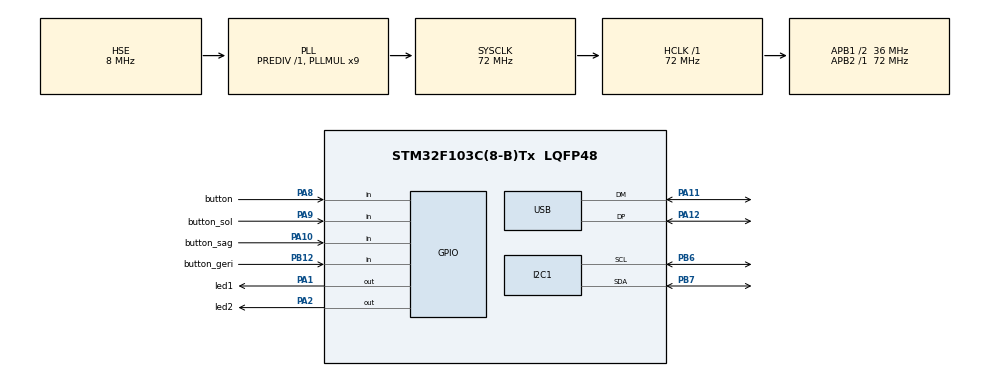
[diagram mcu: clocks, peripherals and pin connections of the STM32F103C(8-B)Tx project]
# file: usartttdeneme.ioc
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Mcu.Family=STM32F1
RCC.PLLSourceVirtual=RCC_PLLSOURCE_HSE
USB_DEVICE.CLASS_NAME_FS=CDC
PD1-OSC_OUT.Mode=HSE-External-Oscillator
USB_DEVICE.VirtualModeFS=Cdc_FS
PA10.GPIO_PuPd=GPIO_PULLDOWN
PA9.GPIO_Label=button_sol
VP_RTC_VS_RTC_Activate.Mode=RTC_Enabled
RCC.USBPrescaler=RCC_USBCLKSOURCE_PLL_DIV1_5
RTC.WeekDay=RTC_WEEKDAY_WEDNESDAY
PA11.Mode=Device
PD0-OSC_IN.Signal=RCC_OSC_IN
RCC.APB1CLKDivider=RCC_HCLK_DIV2
PA9.GPIO_PuPd=GPIO_PULLDOWN
RCC.SYSCLKSource=RCC_SYSCLKSOURCE_PLLCLK
ProjectManager.StackSize=0x400
PD1-OSC_OUT.Signal=RCC_OSC_OUT
PA13.Signal=SYS_JTMS-SWDIO
PA12.Signal=USB_DP
PA8.GPIO_Label=button
ProjectManager.TargetToolchain=STM32CubeIDE
USB_DEVICE.PRODUCT_STRING_CDC_FS=STM32 Virtual Port
RTC.Year=21
I2C1.I2C_Mode=I2C_Fast
RCC.HCLKFreq_Value=72000000
VP_USB_DEVICE_VS_USB_DEVICE_CDC_FS.Mode=CDC_FS
RCC.APB2TimFreq_Value=72000000
PA9.Signal=GPIO_Input
PB6.Signal=I2C1_SCL
PB6.Mode=I2C
RTC.Format=RTC_FORMAT_BIN
RCC.USBFreq_Value=48000000
PA1.Signal=GPIO_Output
RCC.AHBFreq_Value=72000000
PD0-OSC_IN.Mode=HSE-External-Oscillator
RTC.Minutes=17
board=custom
RCC.PLLMUL=RCC_PLL_MUL9
PB12.GPIO_Label=button_geri
RCC.APB2Freq_Value=72000000
RTC.Month=RTC_MONTH_JULY
VP_TIM2_VS_ClockSourceINT.Mode=Internal
PA14.Mode=Serial_Wire
NVIC.USB_LP_CAN1_RX0_IRQn=true\:0\:0\:false\:false\:true\:false\:true
NVIC.TIM2_IRQn=true\:0\:0\:false\:false\:true\:true\:true
PA1.GPIO_Label=led1
PA10.GPIO_Label=button_sag
PB7.Signal=I2C1_SDA
PA8.Signal=GPIO_Input
TIM2.Period=1999
PA13.Mode=Serial_Wire
Mcu.Name=STM32F103C(8-B)Tx
PA2.Signal=GPIO_Output
RCC.SYSCLKFreq_VALUE=72000000
RTC.Hours=13
Mcu.Package=LQFP48
TIM2.Prescaler=35999
PA12.Mode=Device
PA2.GPIO_Label=led2
PB7.Mode=I2C
PA11.Signal=USB_DM
USB_DEVICE.APP_TX_DATA_SIZE=65
PA10.Signal=GPIO_Input
PA14.Signal=SYS_JTCK-SWCLK
VP_RTC_VS_RTC_Calendar.Mode=RTC_Calendar
ProjectManager.HeapSize=0x200
PA8.GPIO_PuPd=GPIO_PULLDOWN
NVIC.PriorityGroup=NVIC_PRIORITYGROUP_4
USB_DEVICE.APP_RX_DATA_SIZE=65
RCC.APB1TimFreq_Value=72000000
RTC.AutoPrediv=RTC_AUTO_1_SECOND
PB12.GPIO_PuPd=GPIO_PULLDOWN
RTC.Seconds=0
RCC.APB1Freq_Value=36000000
USB_DEVICE.VirtualMode=Cdc
RTC.Date=28
PB12.Signal=GPIO_Input

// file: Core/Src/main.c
/* USER CODE BEGIN Header */
/**
  ******************************************************************************
  * @file           : main.c
  * @brief          : Main program body
  ******************************************************************************
  * @attention
  *
  * <h2><center>&copy; Copyright (c) 2021 STMicroelectronics.
  * All rights reserved.</center></h2>
  *
  * This software component is licensed by ST under BSD 3-Clause license,
  * the "License"; You may not use this file except in compliance with the
  * License. You may obtain a copy of the License at:
  *                        opensource.org/licenses/BSD-3-Clause
  *
  ******************************************************************************
  */
/* USER CODE END Header */
#include "main.h"
#include "usb_device.h"

/* USER CODE BEGIN Includes */
#include"usbd_cdc_if.h"
#include"string.h"
#include"stdio.h"
#include"math.h"
#include"stdlib.h"
#include"stdbool.h"
#include "AESK_Data_Pack_lib.h"

/* USER CODE END Includes */

/* USER CODE BEGIN PTD */

static void Parameter_Receive_PC(void);			//c# üzerinden gelen PID değerlerini alan fonksiyon.
static void Parameter_Transmit_PC(void);		//Parametleri gönderdiğimiz fonksiyon.
static void All_Parameters_Send_Tekseferde(void);
static void Error_Flag_Function(void);
static void Button_Kontrol_Function(void);

/* USER CODE END PTD */

/* USER CODE BEGIN PD */
#define MPU6050_ADDR 0x68 << 1
//#define PWR_MGMT_1_REG 0x68
#define SMPLRT_DIV_REG 0x19
#define GYRO_CNFG_REG 0x1B
#define ACC_CNFG_REG 0x1C
#define RAD_TO_DEG 57.295779513082320876798154814105

/* USER CODE END PD */

I2C_HandleTypeDef hi2c1;

RTC_HandleTypeDef hrtc;

TIM_HandleTypeDef htim2;

/* USER CODE BEGIN PV */

//*************************************mpu6050 değişkenler************************
uint8_t data;
uint8_t buffer[2],tuffer[6],cuffer[6];
int16_t gyro_raw[3],acc_raw[3];
float gyro_cal[3];
uint16_t acc_total_vector;
float angle_pitch_gyro,angle_roll_gyro;
float angle_pitch_acc,angle_roll_acc;
float angle_pitch,angle_roll;
uint16_t raw_temp;
float temp;
int i;
float prevtime,prevtime1,time1,elapsedtime1,prevtime2,time2,elapsedtime2,Elapsedtime;
HAL_StatusTypeDef set_gyro;

//*********************************************************************************

typedef union
{
	struct
	{
		float data;  		// Float olan bir veri 4byte'dır.
	};					 	// Burada datayı uint8 cinsinden 4 byte şeklinde ayıran bir struct vardır.
	struct
	{
		uint8_t bytes[4];
	};
} float_to_byte;  //struct ismi.
typedef union
{
	struct
	{
		double data;  		// Float olan bir veri 4byte'dır.
	};					 	// Burada datayı uint8 cinsinden 4 byte şeklinde ayıran bir struct vardır.
	struct
	{
		uint8_t bytes[4];
	};
} double_to_byte;  //struct ismi.

double_to_byte otolat1;
double_to_byte otolng1;

float_to_byte Pitch_intgral;
float_to_byte Roll_intgral;
float_to_byte Yaw_intgral;
float_to_byte Pitch_ControlSignal;
float_to_byte Roll_ControlSignal;
float_to_byte Yaw_ControlSignal;
float_to_byte Heading;

								//struct için fonk ismi tanımaladık.Gelen verileri kaydetmek için.
float_to_byte X_kpbytes;
float_to_byte X_kibytes;		//RollPitch PID verileri.
float_to_byte X_kdbytes;

float_to_byte Y_kpbytes;
float_to_byte Y_kibytes;		//Yaw PID verileri.
float_to_byte Y_kdbytes;

float_to_byte Z_kpbytes;		//Altitude PID verileri.
float_to_byte Z_kibytes;
float_to_byte Z_kdbytes;

float_to_byte recx_kpbytes;   //c# üzerinden RollPitch PID değerlerini içine attığımız değişken.
float_to_byte recx_kibytes;
float_to_byte recx_kdbytes;

float_to_byte recy_kpbytes;   //c# üzerinden YAW PID değerlerini içine attığımız değişken.
float_to_byte recy_kibytes;
float_to_byte recy_kdbytes;

float_to_byte recz_kpbytes;   //c# üzerinden Altitude PID değerlerini içine attığımız değişken.
float_to_byte recz_kibytes;
float_to_byte recz_kdbytes;

float_to_byte gyro_xbytes;		//Gyro_Angle verileri.
float_to_byte gyro_ybytes;
float_to_byte gyro_zbytes;

float_to_byte gyrox_errorbytes;		//Gyro_Angle verileri.
float_to_byte gyroy_errorbytes;
float_to_byte gyroz_errorbytes;

float_to_byte Barometer_Altitude;	//Barometre verileri.

float_to_byte Altitude_ControlSignal;
float_to_byte Altitude_integral;

float_to_byte DroneKontrol_Dizi;

uint8_t packet_header_s1_char = 'A';		//Header 1 = 66.
uint8_t packet_header_s2_char = 'B';		//Header 2 = 65.
uint8_t packet_header_end_char = 0;		//Header son = 'Z'.

#define SIZE_OF_RX_BUFFER		(128)		//Receive paketleri 64 byte olarak belirlendi.

#define SIZE_OF_OnePacket_BUFFER		(125)

unsigned char tx_Send_OnePacket[SIZE_OF_OnePacket_BUFFER] = {0};

int button_valueon;
int button_valuesol;
int button_valuearka;
int button_valuesag;
int i=0;

uint8_t rx_buffer[SIZE_OF_RX_BUFFER];		//Receive paketi tanımlandı.

uint16_t Motor1_Duty=1000;					//uint16 tipinde motor_PWM değişkenleri tanımlandı.
uint16_t Motor2_Duty=1000;
uint16_t Motor3_Duty=1000;
uint16_t Motor4_Duty=5000;

float Barometer_altitude = 2.45f;			//float tipinde Barometer değişkeni tanımlandı.
uint32_t GPS_Lattitude = (41.0257612)*(10000000);		//float tipinde GPS değişkenleri tanımlandı.
uint32_t GPS_Longtitude =(28.88924095)*(100000000);

float X_kp=5.4f;							//float tipinde RollPitch_PID değişkenleri tanımlandı.
float X_ki=1.2f;
float X_kd=2.4f;

float Y_kp=5.4f;							//float tipinde YAW_PID değişkenleri tanımlandı.
float Y_ki=1.2f;
float Y_kd=2.4f;

float Z_kp=5.4f;							//float tipinde Altitude_PID değişkenleri tanımlandı.
float Z_ki=1.2f;
float Z_kd=2.4f;

float gyrox ;     					//float tipinde Gyro_Angle değişkenleri tanımlandı.
float gyroy ;
float gyroz = 11.2f;

float gyrox_error = 1.0f;
float gyroy_error = 2.0f;
float gyroz_error = 25.2f;

float Pitch_integral_float=16;
float Roll_integral_float=16;
float Yaw_integral_float=15;
float Pitch_ControlSignal_float=17;
float Roll_ControlSignal_float=18;
float Yaw_ControlSignal_float=19;
float Heading_float=5;

float Altitude_ControlSignal_float = 11 ;
float Altitude_integral_float = 5 ;

int16_t KumandaOnOff=1;
int16_t KumandaFailsafe=1;

double otogpslat1;
double temp_oto;
uint8_t silbuton;
double otogpslng1;

float Dronekomut_dizi_float;

float ComplementaryFAngleRoll;
float ComplementaryFAnglePitch;
float CFilterRoll;
float CFilterPitch;
float Roll_Accelometer;
float Pitch_Accelometer;

uint8_t saat;
uint8_t saniye;

uint16_t Error_Flag = 0 ;

float Error_Flag_Buffer1 = 0 ;
float Error_Flag_Buffer2 = 1 ;
float Error_Flag_Buffer3 = 2 ;
uint8_t sayac =0;

/* USER CODE END PV */

void SystemClock_Config(void);
static void MX_GPIO_Init(void);
static void MX_I2C1_Init(void);
static void MX_RTC_Init(void);
static void MX_TIM2_Init(void);

/* USER CODE BEGIN 0 */

#define SMPLRT_DIV_REG 0x19
#define GYRO_CONFIG_REG 0x1B
#define ACCEL_CONFIG_REG 0x1C
#define ACCEL_XOUT_H_REG 0x3B
#define TEMP_OUT_H_REG 0x41
#define GYRO_XOUT_H_REG 0x43
#define PWR_MGMT_1_REG 0x6B
#define WHO_AM_I_REG 0x75

int16_t Accel_X_RAW = 0;
int16_t Accel_Y_RAW = 0;
int16_t Accel_Z_RAW = 0;

int16_t Gyro_X_RAW = 0;
int16_t Gyro_Y_RAW = 0;
int16_t Gyro_Z_RAW = 0;

float Ax, Ay, Az, Gx, Gy, Gz;

int error_flag =0 ;

void MPU6050_Init (void)
{
	uint8_t check;
	uint8_t Data;

	// check device ID WHO_AM_I

	HAL_I2C_Mem_Read (&hi2c1, MPU6050_ADDR,WHO_AM_I_REG,1, &check, 1, 1000);

	if (check == 104)  // 0x68 will be returned by the sensor if everything goes well
	{
		// power management register 0X6B we should write all 0's to wake the sensor up
		Data = 0;
		HAL_I2C_Mem_Write(&hi2c1, MPU6050_ADDR, PWR_MGMT_1_REG, 1,&Data, 1, 1000);

		// Set DATA RATE of 1KHz by writing SMPLRT_DIV register
		Data = 0x07;
		HAL_I2C_Mem_Write(&hi2c1, MPU6050_ADDR, SMPLRT_DIV_REG, 1, &Data, 1, 1000);

		// Set accelerometer configuration in ACCEL_CONFIG Register
		// XA_ST=0,YA_ST=0,ZA_ST=0, FS_SEL=0 -> ± 2g
		Data = 0x00;
		HAL_I2C_Mem_Write(&hi2c1, MPU6050_ADDR, ACCEL_CONFIG_REG, 1, &Data, 1, 1000);

		// Set Gyroscopic configuration in GYRO_CONFIG Register
		// XG_ST=0,YG_ST=0,ZG_ST=0, FS_SEL=0 -> ± 250 °/s
		Data = 0x00;
		HAL_I2C_Mem_Write(&hi2c1, MPU6050_ADDR, GYRO_CONFIG_REG, 1, &Data, 1, 1000);

	}

}
void MPU6050_Read_Accel (void)
{
	uint8_t Rec_Data[6];

	// Read 6 BYTES of data starting from ACCEL_XOUT_H register

	HAL_I2C_Mem_Read (&hi2c1, MPU6050_ADDR, ACCEL_XOUT_H_REG, 1, Rec_Data, 6, 1000);

	Accel_X_RAW = (int16_t)(Rec_Data[0] << 8 | Rec_Data [1]);
	Accel_Y_RAW = (int16_t)(Rec_Data[2] << 8 | Rec_Data [3]);
	Accel_Z_RAW = (int16_t)(Rec_Data[4] << 8 | Rec_Data [5]);

	/*** convert the RAW values into acceleration in 'g'
	     we have to divide according to the Full scale value set in FS_SEL
	     I have configured FS_SEL = 0. So I am dividing by 16384.0
	     for more details check ACCEL_CONFIG Register              ****/

	Ax = Accel_X_RAW/16384.0;
	Ay = Accel_Y_RAW/16384.0;
	Az = Accel_Z_RAW/16384.0;

	Roll_Accelometer  = atan((Ay)/sqrt(pow((Ax),2) + pow((Az),2)))*RAD_TO_DEG;	//pow fonksiyonu Ax in 2 üssünü alır burda.
	Pitch_Accelometer = atan(-1*(Ax)/sqrt(pow((Ay),2) + pow((Az),2)))*RAD_TO_DEG;

}

void MPU6050_Read_Gyro (void)
{
	uint8_t Rec_Data[6];

	// Read 6 BYTES of data starting from GYRO_XOUT_H register

	HAL_I2C_Mem_Read (&hi2c1, MPU6050_ADDR, GYRO_XOUT_H_REG, 1, Rec_Data, 6, 1000);

	Gyro_X_RAW = (int16_t)(Rec_Data[0] << 8 | Rec_Data [1]);
	Gyro_Y_RAW = (int16_t)(Rec_Data[2] << 8 | Rec_Data [3]);
	Gyro_Z_RAW = (int16_t)(Rec_Data[4] << 8 | Rec_Data [5]);

	/*** convert the RAW values into dps (°/s)
	     we have to divide according to the Full scale value set in FS_SEL
	     I have configured FS_SEL = 0. So I am dividing by 131.0
	     for more details check GYRO_CONFIG Register              ****/

	Gx = Gyro_X_RAW/131.0;
	Gy = Gyro_Y_RAW/131.0;
	Gz = Gyro_Z_RAW/131.0;

}

static void Parameter_Receive_PC(void)			//c# üzerinden gelen PID değerlerini alan fonksiyon.
{
	if (rx_buffer[0] == 'R')
	{
		recx_kpbytes.bytes[0]=rx_buffer[1];     // union struct yapısı ile gelen verileri 4 byte şekilde alıyoruz.
		recx_kpbytes.bytes[1]=rx_buffer[2];		// çünkü float 4 byte bu nedenle 4 byte içinde alıyoruzz.
		recx_kpbytes.bytes[2]=rx_buffer[3];
		recx_kpbytes.bytes[3]=rx_buffer[4];

		X_kp=recx_kpbytes.data;                 //Dataları birleştirip float cinsindeki kp değişkeninin içine atıyoruz.

		recx_kibytes.bytes[0]=rx_buffer[5];
		recx_kibytes.bytes[1]=rx_buffer[6];
		recx_kibytes.bytes[2]=rx_buffer[7];
		recx_kibytes.bytes[3]=rx_buffer[8];

		X_ki=recx_kibytes.data;

		recx_kdbytes.bytes[0]=rx_buffer[9];
		recx_kdbytes.bytes[1]=rx_buffer[10];
		recx_kdbytes.bytes[2]=rx_buffer[11];
		recx_kdbytes.bytes[3]=rx_buffer[12];

		X_kd=recx_kdbytes.data;
	}

	if (rx_buffer[0] == 'Y')
	{
		recy_kpbytes.bytes[0]=rx_buffer[13];     // union struct yapısı ile gelen verileri 4 byte şekilde alıyoruz.
		recy_kpbytes.bytes[1]=rx_buffer[14];		// çünkü float 4 byte bu nedenle 4 byte içinde alıyoruzz.
		recy_kpbytes.bytes[2]=rx_buffer[15];
		recy_kpbytes.bytes[3]=rx_buffer[16];

		Y_kp=recy_kpbytes.data;                 //Dataları birleştirip float cinsindeki kp değişkeninin içine atıyoruz.

		recy_kibytes.bytes[0]=rx_buffer[17];
		recy_kibytes.bytes[1]=rx_buffer[18];
		recy_kibytes.bytes[2]=rx_buffer[19];
		recy_kibytes.bytes[3]=rx_buffer[20];

		Y_ki=recy_kibytes.data;

		recy_kdbytes.bytes[0]=rx_buffer[21];
		recy_kdbytes.bytes[1]=rx_buffer[22];
		recy_kdbytes.bytes[2]=rx_buffer[23];
		recy_kdbytes.bytes[3]=rx_buffer[24];

		Y_kd=recy_kdbytes.data;
	}

	if (rx_buffer[0] == 'L')
	{
		recz_kpbytes.bytes[0]=rx_buffer[25];     // union struct yapısı ile gelen verileri 4 byte şekilde alıyoruz.
		recz_kpbytes.bytes[1]=rx_buffer[26];		// çünkü float 4 byte bu nedenle 4 byte içinde alıyoruzz.
		recz_kpbytes.bytes[2]=rx_buffer[27];
		recz_kpbytes.bytes[3]=rx_buffer[28];

		Z_kp=recz_kpbytes.data;                 //Dataları birleştirip float cinsindeki kp değişkeninin içine atıyoruz.

		recz_kibytes.bytes[0]=rx_buffer[29];
		recz_kibytes.bytes[1]=rx_buffer[30];
		recz_kibytes.bytes[2]=rx_buffer[31];
		recz_kibytes.bytes[3]=rx_buffer[32];

		Z_ki=recz_kibytes.data;

		recz_kdbytes.bytes[0]=rx_buffer[33];
		recz_kdbytes.bytes[1]=rx_buffer[34];
		recz_kdbytes.bytes[2]=rx_buffer[35];
		recz_kdbytes.bytes[3]=rx_buffer[36];

		Z_kd=recz_kdbytes.data;
	}
	if (rx_buffer[0] == 'F')
	{

		 otolat1.bytes[0] = rx_buffer[37];
		 otolat1.bytes[1] = rx_buffer[38];
		 otolat1.bytes[2] = rx_buffer[39];
		 otolat1.bytes[3] = rx_buffer[40];
		 otolat1.bytes[4] = rx_buffer[41];
		 otolat1.bytes[5] = rx_buffer[42];
		 otolat1.bytes[6] = rx_buffer[43];
		 otolat1.bytes[7] = rx_buffer[44];

		 otogpslat1=otolat1.data;

		 otolng1.bytes[0] = rx_buffer[45];
		 otolng1.bytes[1] = rx_buffer[46];
		 otolng1.bytes[2] = rx_buffer[47];
		 otolng1.bytes[3] = rx_buffer[48];
		 otolng1.bytes[4] = rx_buffer[49];
		 otolng1.bytes[5] = rx_buffer[50];
		 otolng1.bytes[6] = rx_buffer[51];
		 otolng1.bytes[7] = rx_buffer[52];

		 otogpslng1=otolng1.data;

	}
	if (rx_buffer[0] == 'D')
		{

			 DroneKontrol_Dizi.bytes[0] = rx_buffer[53];
			 DroneKontrol_Dizi.bytes[1] = rx_buffer[54];
			 DroneKontrol_Dizi.bytes[2] = rx_buffer[55];
			 DroneKontrol_Dizi.bytes[3] = rx_buffer[56];

			 Dronekomut_dizi_float=DroneKontrol_Dizi.data;

		}

}

static void Parameter_Transmit_PC(void)				//Parametleri gönderdiğimiz fonksiyon.
{

	All_Parameters_Send_Tekseferde(); //tek paketle yollamak için.

	CDC_Transmit_FS(tx_Send_OnePacket, SIZE_OF_OnePacket_BUFFER);
	HAL_Delay(200);
}
static void All_Parameters_Send_Tekseferde(void)
{

		X_kpbytes.data=X_kp;
		X_kibytes.data=X_ki;
		X_kdbytes.data=X_kd;

		Y_kpbytes.data=Y_kp;
		Y_kibytes.data=Y_ki;
		Y_kdbytes.data=Y_kd;

		Z_kpbytes.data = Z_kp;
		Z_kibytes.data=Z_ki;
		Z_kdbytes.data=Z_kd;

		gyro_xbytes.data=gyrox;     // ana karttan gelen gyrox verilerini bytlerına ayırıyoruz.
		gyro_ybytes.data=gyroy;
		gyro_zbytes.data=gyroz;

		gyrox_errorbytes.data=gyrox_error;
		gyroy_errorbytes.data=gyroy_error;
		gyroz_errorbytes.data=gyroz_error;

		Barometer_Altitude.data=Barometer_altitude;     // ana karttan gelen Barometre verilerini bytlerına ayırıyoruz.

		Pitch_intgral.data=Pitch_integral_float;
		Roll_intgral.data=Roll_integral_float;
		Yaw_intgral.data=Yaw_integral_float;

		Pitch_ControlSignal.data=Pitch_ControlSignal_float;
		Roll_ControlSignal.data=Roll_ControlSignal_float;
		Yaw_ControlSignal.data=Yaw_ControlSignal_float;

		Altitude_ControlSignal.data = Altitude_ControlSignal_float;
		Altitude_integral.data = Altitude_integral_float;

		Heading.data=Heading_float;

		tx_Send_OnePacket[0]=packet_header_s1_char;  //65
		tx_Send_OnePacket[1]=packet_header_s2_char; // 66 olmalı !!

		tx_Send_OnePacket[2] =gyro_xbytes.bytes[0];  		// burada da 4 byte şeklinde c# a gönderiyoruz.
		tx_Send_OnePacket[3] =gyro_xbytes.bytes[1];
		tx_Send_OnePacket[4] =gyro_xbytes.bytes[2];
		tx_Send_OnePacket[5] =gyro_xbytes.bytes[3];

		tx_Send_OnePacket[6]  =gyro_ybytes.bytes[0];
		tx_Send_OnePacket[7]  =gyro_ybytes.bytes[1];
		tx_Send_OnePacket[8]  =gyro_ybytes.bytes[2];
		tx_Send_OnePacket[9] =gyro_ybytes.bytes[3];

		tx_Send_OnePacket[10] =gyro_zbytes.bytes[0];
		tx_Send_OnePacket[11] =gyro_zbytes.bytes[1];
		tx_Send_OnePacket[12] =gyro_zbytes.bytes[2];
		tx_Send_OnePacket[13] =gyro_zbytes.bytes[3];

		tx_Send_OnePacket[14] =X_kpbytes.bytes[0];		//Xpıd
		tx_Send_OnePacket[15] =X_kpbytes.bytes[1];
		tx_Send_OnePacket[16] =X_kpbytes.bytes[2];
		tx_Send_OnePacket[17] =X_kpbytes.bytes[3];

		tx_Send_OnePacket[18] =X_kibytes.bytes[0];
		tx_Send_OnePacket[19] =X_kibytes.bytes[1];
		tx_Send_OnePacket[20] =X_kibytes.bytes[2];
		tx_Send_OnePacket[21] =X_kibytes.bytes[3];

		tx_Send_OnePacket[22] =X_kdbytes.bytes[0];
		tx_Send_OnePacket[23] =X_kdbytes.bytes[1];
		tx_Send_OnePacket[24] =X_kdbytes.bytes[2];
		tx_Send_OnePacket[25] =X_kdbytes.bytes[3];

		tx_Send_OnePacket[26] =Y_kpbytes.bytes[0];   //ypıd
		tx_Send_OnePacket[27] =Y_kpbytes.bytes[1];
		tx_Send_OnePacket[28] =Y_kpbytes.bytes[2];
		tx_Send_OnePacket[29] =Y_kpbytes.bytes[3];

		tx_Send_OnePacket[30]  =Y_kibytes.bytes[0];
		tx_Send_OnePacket[31]  =Y_kibytes.bytes[1];
		tx_Send_OnePacket[32]  =Y_kibytes.bytes[2];
		tx_Send_OnePacket[33] =Y_kibytes.bytes[3];

		tx_Send_OnePacket[34] =Y_kdbytes.bytes[0];
		tx_Send_OnePacket[35] =Y_kdbytes.bytes[1];
		tx_Send_OnePacket[36] =Y_kdbytes.bytes[2];
		tx_Send_OnePacket[37] =Y_kdbytes.bytes[3];

		tx_Send_OnePacket[38] = Z_kpbytes.bytes[0];			//zpıd
		tx_Send_OnePacket[39] = Z_kpbytes.bytes[1];
		tx_Send_OnePacket[40] = Z_kpbytes.bytes[2];
		tx_Send_OnePacket[41] = Z_kpbytes.bytes[3];

		tx_Send_OnePacket[42] =Z_kibytes.bytes[0];
		tx_Send_OnePacket[43] =Z_kibytes.bytes[1];
		tx_Send_OnePacket[44] =Z_kibytes.bytes[2];
		tx_Send_OnePacket[45] =Z_kibytes.bytes[3];

		tx_Send_OnePacket[46] =Z_kdbytes.bytes[0];
		tx_Send_OnePacket[47] =Z_kdbytes.bytes[1];
		tx_Send_OnePacket[48] =Z_kdbytes.bytes[2];
		tx_Send_OnePacket[49] =Z_kdbytes.bytes[3];

		tx_Send_OnePacket[50] =(uint8_t)Motor1_Duty;
		tx_Send_OnePacket[51] =(uint8_t)(Motor1_Duty >> 8) ;
		tx_Send_OnePacket[52] =(uint8_t)Motor2_Duty;
		tx_Send_OnePacket[53] =(uint8_t)(Motor2_Duty >> 8) ;

		tx_Send_OnePacket[54] =(uint8_t)Motor3_Duty;
		tx_Send_OnePacket[55] =(uint8_t)(Motor3_Duty >> 8) ;
		tx_Send_OnePacket[56] =(uint8_t)Motor4_Duty;
		tx_Send_OnePacket[57]=(uint8_t)(Motor4_Duty >> 8);

		tx_Send_OnePacket[58] =Barometer_Altitude.bytes[0];
		tx_Send_OnePacket[59] =Barometer_Altitude.bytes[1];
		tx_Send_OnePacket[60] =Barometer_Altitude.bytes[2];
		tx_Send_OnePacket[61] =Barometer_Altitude.bytes[3];

		tx_Send_OnePacket[62] =(uint8_t)GPS_Lattitude;
		tx_Send_OnePacket[63] =(uint8_t)(GPS_Lattitude >> 8);
		tx_Send_OnePacket[64] =(uint8_t)(GPS_Lattitude >> 16);
		tx_Send_OnePacket[65] =(uint8_t)(GPS_Lattitude >> 24);

		tx_Send_OnePacket[66] =(uint8_t)GPS_Longtitude;
		tx_Send_OnePacket[67] =(uint8_t)(GPS_Longtitude >> 8);
		tx_Send_OnePacket[68] =(uint8_t)(GPS_Longtitude >> 16);
		tx_Send_OnePacket[69] =(uint8_t)(GPS_Longtitude >> 24);

		tx_Send_OnePacket[70] =gyrox_errorbytes.bytes[0];  		// burada da 4 byte şeklinde c# a gönderiyoruz.
		tx_Send_OnePacket[71] =gyrox_errorbytes.bytes[1];
		tx_Send_OnePacket[72] =gyrox_errorbytes.bytes[2];
		tx_Send_OnePacket[73] =gyrox_errorbytes.bytes[3];

		tx_Send_OnePacket[74]  =gyroy_errorbytes.bytes[0];
		tx_Send_OnePacket[75]  =gyroy_errorbytes.bytes[1];
		tx_Send_OnePacket[76]  =gyroy_errorbytes.bytes[2];
		tx_Send_OnePacket[77]  =gyroy_errorbytes.bytes[3];

		tx_Send_OnePacket[78] =gyroz_errorbytes.bytes[0];
		tx_Send_OnePacket[79] =gyroz_errorbytes.bytes[1];
		tx_Send_OnePacket[80] =gyroz_errorbytes.bytes[2];
		tx_Send_OnePacket[81] =gyroz_errorbytes.bytes[3];

		tx_Send_OnePacket[82] =Pitch_intgral.bytes[0];
		tx_Send_OnePacket[83] =Pitch_intgral.bytes[1];
		tx_Send_OnePacket[84] =Pitch_intgral.bytes[2];
		tx_Send_OnePacket[85] =Pitch_intgral.bytes[3];

		tx_Send_OnePacket[86] =Roll_intgral.bytes[0];
		tx_Send_OnePacket[87] =Roll_intgral.bytes[1];
		tx_Send_OnePacket[88] =Roll_intgral.bytes[2];
		tx_Send_OnePacket[89] =Roll_intgral.bytes[3];

		tx_Send_OnePacket[90] =Yaw_intgral.bytes[0];
		tx_Send_OnePacket[91] =Yaw_intgral.bytes[1];
		tx_Send_OnePacket[92] =Yaw_intgral.bytes[2];
		tx_Send_OnePacket[93] =Yaw_intgral.bytes[3];

		tx_Send_OnePacket[94] =Pitch_ControlSignal.bytes[0];
		tx_Send_OnePacket[95] =Pitch_ControlSignal.bytes[1];
		tx_Send_OnePacket[96] =Pitch_ControlSignal.bytes[2];
		tx_Send_OnePacket[97] =Pitch_ControlSignal.bytes[3];

		tx_Send_OnePacket[98] =Roll_ControlSignal.bytes[0];
		tx_Send_OnePacket[99] =Roll_ControlSignal.bytes[1];
		tx_Send_OnePacket[100] =Roll_ControlSignal.bytes[2];
		tx_Send_OnePacket[101] =Roll_ControlSignal.bytes[3];

		tx_Send_OnePacket[102] =Yaw_ControlSignal.bytes[0];
		tx_Send_OnePacket[103] =Yaw_ControlSignal.bytes[1];
		tx_Send_OnePacket[104] =Yaw_ControlSignal.bytes[2];
		tx_Send_OnePacket[105] =Yaw_ControlSignal.bytes[3];

		tx_Send_OnePacket[106] =Heading.bytes[0];
		tx_Send_OnePacket[107] =Heading.bytes[1];
		tx_Send_OnePacket[108] =Heading.bytes[2];
		tx_Send_OnePacket[109] =Heading.bytes[3];

		tx_Send_OnePacket[110] =(uint8_t)KumandaOnOff;
		tx_Send_OnePacket[111] =(uint8_t)(KumandaOnOff >> 8 );

		tx_Send_OnePacket[112] =(uint8_t)KumandaFailsafe;
		tx_Send_OnePacket[113] =(uint8_t)(KumandaFailsafe >> 8 );

		tx_Send_OnePacket[114] =Altitude_ControlSignal.bytes[0];
		tx_Send_OnePacket[115] =Altitude_ControlSignal.bytes[1];
		tx_Send_OnePacket[116] =Altitude_ControlSignal.bytes[2];
		tx_Send_OnePacket[117] =Altitude_ControlSignal.bytes[3];

		tx_Send_OnePacket[118] =Altitude_integral.bytes[0];
		tx_Send_OnePacket[119] =Altitude_integral.bytes[1];
		tx_Send_OnePacket[120] =Altitude_integral.bytes[2];
		tx_Send_OnePacket[121] =Altitude_integral.bytes[3];

		tx_Send_OnePacket[122] = error_flag;
		tx_Send_OnePacket[123] = error_flag >> 8 ;

		tx_Send_OnePacket[124]= packet_header_end_char;

}
static void Error_Flag_Function(void)
{

			if(sayac == 0)
			{
				Error_Flag_Buffer1 = gyrox;

			}
			if(sayac == 1)
			{
				Error_Flag_Buffer2 = gyrox;

			}
			sayac++;
			if(sayac == 3)
			{
				Error_Flag_Buffer3 = gyrox;
				sayac = 0 ;
			}
			if (Error_Flag_Buffer3 == Error_Flag_Buffer1)
			{
				Error_Flag = 1 ;
				error_flag = 1 ;
			}
			if (Error_Flag_Buffer3 != Error_Flag_Buffer1 )
			{
				error_flag = 0;
			}

}
static void Button_Kontrol_Function(void)
{
	button_valueon= HAL_GPIO_ReadPin(button_GPIO_Port, button_Pin);
		  	button_valuesag=HAL_GPIO_ReadPin(button_sag_GPIO_Port,button_sag_Pin);
		  	button_valuesol=HAL_GPIO_ReadPin(button_sol_GPIO_Port,button_sol_Pin);
		  	button_valuearka=HAL_GPIO_ReadPin(button_geri_GPIO_Port,button_geri_Pin);
		  	if (button_valueon == 1)
		  	{
		  		GPS_Lattitude += + 1000;
		  		HAL_Delay(100);
		  	}

		  	if (button_valuesag == 1)
				{
					GPS_Longtitude += + 1000;
					HAL_Delay(100);
				}

		  	if (button_valuesol == 1)
				{
					GPS_Longtitude += - 1000;
					HAL_Delay(100);
				}
		  	if (button_valuearka == 1)
				{
		  			GPS_Lattitude += - 1000;
					HAL_Delay(100);
				}

}

/* USER CODE END 0 */

int main(void)
{

  /* MCU Configuration--------------------------------------------------------*/

  /* Reset of all peripherals, Initializes the Flash interface and the Systick. */
  HAL_Init();

  /* Configure the system clock */
  SystemClock_Config();

  /* Initialize all configured peripherals */
  MX_GPIO_Init();
  MX_USB_DEVICE_Init();
  MX_I2C1_Init();
  MX_RTC_Init();
  MX_TIM2_Init();
  /* USER CODE BEGIN 2 */

  	HAL_TIM_Base_Start_IT(&htim2);

   //MPU6050_Init();
   //HAL_Delay (1000);  // wait for 1 sec

  /* USER CODE END 2 */

  /* Infinite loop */
  while (1)
  {

    /* USER CODE BEGIN 3 */

	  	Error_Flag_Function();

	  	if(Error_Flag)
	  	{
	  		MX_I2C1_Init();
	  		Error_Flag = 0;
	  	}

	  	MPU6050_Init();
	  	MPU6050_Read_Accel();
	  	MPU6050_Read_Gyro();

		gyrox=Roll_Accelometer;
		gyroy=Pitch_Accelometer;

		packet_header_end_char = ((packet_header_s1_char * packet_header_s2_char) + (KumandaOnOff * KumandaFailsafe) + (21+07+97)  + (Motor1_Duty + Motor3_Duty)) / 100 ;

		Button_Kontrol_Function();
	  	Parameter_Receive_PC();				//PID değerlerini c# üzerinden alan fonksiyon.
	  	Parameter_Transmit_PC();			//Parametreleri Transmit eden fonksiyon.

  }
  /* USER CODE END 3 */
}

void SystemClock_Config(void)
{
  RCC_OscInitTypeDef RCC_OscInitStruct = {0};
  RCC_ClkInitTypeDef RCC_ClkInitStruct = {0};
  RCC_PeriphCLKInitTypeDef PeriphClkInit = {0};

  /** Initializes the RCC Oscillators according to the specified parameters
  * in the RCC_OscInitTypeDef structure.
  */
  RCC_OscInitStruct.OscillatorType = RCC_OSCILLATORTYPE_LSI|RCC_OSCILLATORTYPE_HSE;
  RCC_OscInitStruct.HSEState = RCC_HSE_ON;
  RCC_OscInitStruct.HSEPredivValue = RCC_HSE_PREDIV_DIV1;
  RCC_OscInitStruct.HSIState = RCC_HSI_ON;
  RCC_OscInitStruct.LSIState = RCC_LSI_ON;
  RCC_OscInitStruct.PLL.PLLState = RCC_PLL_ON;
  RCC_OscInitStruct.PLL.PLLSource = RCC_PLLSOURCE_HSE;
  RCC_OscInitStruct.PLL.PLLMUL = RCC_PLL_MUL9;
  if (HAL_RCC_OscConfig(&RCC_OscInitStruct) != HAL_OK)
  {
    Error_Handler();
  }
  /** Initializes the CPU, AHB and APB buses clocks
  */
  RCC_ClkInitStruct.ClockType = RCC_CLOCKTYPE_HCLK|RCC_CLOCKTYPE_SYSCLK
                              |RCC_CLOCKTYPE_PCLK1|RCC_CLOCKTYPE_PCLK2;
  RCC_ClkInitStruct.SYSCLKSource = RCC_SYSCLKSOURCE_PLLCLK;
  RCC_ClkInitStruct.AHBCLKDivider = RCC_SYSCLK_DIV1;
  RCC_ClkInitStruct.APB1CLKDivider = RCC_HCLK_DIV2;
  RCC_ClkInitStruct.APB2CLKDivider = RCC_HCLK_DIV1;

  if (HAL_RCC_ClockConfig(&RCC_ClkInitStruct, FLASH_LATENCY_2) != HAL_OK)
  {
    Error_Handler();
  }
  PeriphClkInit.PeriphClockSelection = RCC_PERIPHCLK_RTC|RCC_PERIPHCLK_USB;
  PeriphClkInit.RTCClockSelection = RCC_RTCCLKSOURCE_LSI;
  PeriphClkInit.UsbClockSelection = RCC_USBCLKSOURCE_PLL_DIV1_5;
  if (HAL_RCCEx_PeriphCLKConfig(&PeriphClkInit) != HAL_OK)
  {
    Error_Handler();
  }
}

static void MX_I2C1_Init(void)
{

  hi2c1.Instance = I2C1;
  hi2c1.Init.ClockSpeed = 400000;
  hi2c1.Init.DutyCycle = I2C_DUTYCYCLE_2;
  hi2c1.Init.OwnAddress1 = 0;
  hi2c1.Init.AddressingMode = I2C_ADDRESSINGMODE_7BIT;
  hi2c1.Init.DualAddressMode = I2C_DUALADDRESS_DISABLE;
  hi2c1.Init.OwnAddress2 = 0;
  hi2c1.Init.GeneralCallMode = I2C_GENERALCALL_DISABLE;
  hi2c1.Init.NoStretchMode = I2C_NOSTRETCH_DISABLE;
  if (HAL_I2C_Init(&hi2c1) != HAL_OK)
  {
    Error_Handler();
  }

}

static void MX_RTC_Init(void)
{

  RTC_TimeTypeDef sTime = {0};
  RTC_DateTypeDef DateToUpdate = {0};

  /** Initialize RTC Only
  */
  hrtc.Instance = RTC;
  hrtc.Init.AsynchPrediv = RTC_AUTO_1_SECOND;
  hrtc.Init.OutPut = RTC_OUTPUTSOURCE_ALARM;
  if (HAL_RTC_Init(&hrtc) != HAL_OK)
  {
    Error_Handler();
  }

  /** Initialize RTC and set the Time and Date
  */
  sTime.Hours = 13;
  sTime.Minutes = 17;
  sTime.Seconds = 0;

  if (HAL_RTC_SetTime(&hrtc, &sTime, RTC_FORMAT_BIN) != HAL_OK)
  {
    Error_Handler();
  }
  DateToUpdate.WeekDay = RTC_WEEKDAY_WEDNESDAY;
  DateToUpdate.Month = RTC_MONTH_JULY;
  DateToUpdate.Date = 28;
  DateToUpdate.Year = 21;

  if (HAL_RTC_SetDate(&hrtc, &DateToUpdate, RTC_FORMAT_BIN) != HAL_OK)
  {
    Error_Handler();
  }

}

static void MX_TIM2_Init(void)
{

  TIM_ClockConfigTypeDef sClockSourceConfig = {0};
  TIM_MasterConfigTypeDef sMasterConfig = {0};

  htim2.Instance = TIM2;
  htim2.Init.Prescaler = 9999;
  htim2.Init.CounterMode = TIM_COUNTERMODE_UP;
  htim2.Init.Period = 1999;
  htim2.Init.ClockDivision = TIM_CLOCKDIVISION_DIV1;
  htim2.Init.AutoReloadPreload = TIM_AUTORELOAD_PRELOAD_DISABLE;
  if (HAL_TIM_Base_Init(&htim2) != HAL_OK)
  {
    Error_Handler();
  }
  sClockSourceConfig.ClockSource = TIM_CLOCKSOURCE_INTERNAL;
  if (HAL_TIM_ConfigClockSource(&htim2, &sClockSourceConfig) != HAL_OK)
  {
    Error_Handler();
  }
  sMasterConfig.MasterOutputTrigger = TIM_TRGO_RESET;
  sMasterConfig.MasterSlaveMode = TIM_MASTERSLAVEMODE_DISABLE;
  if (HAL_TIMEx_MasterConfigSynchronization(&htim2, &sMasterConfig) != HAL_OK)
  {
    Error_Handler();
  }

}

static void MX_GPIO_Init(void)
{
  GPIO_InitTypeDef GPIO_InitStruct = {0};

  /* GPIO Ports Clock Enable */
  __HAL_RCC_GPIOD_CLK_ENABLE();
  __HAL_RCC_GPIOA_CLK_ENABLE();
  __HAL_RCC_GPIOB_CLK_ENABLE();

  /*Configure GPIO pin Output Level */
  HAL_GPIO_WritePin(GPIOA, led1_Pin|led2_Pin, GPIO_PIN_RESET);

  /*Configure GPIO pins : led1_Pin led2_Pin */
  GPIO_InitStruct.Pin = led1_Pin|led2_Pin;
  GPIO_InitStruct.Mode = GPIO_MODE_OUTPUT_PP;
  GPIO_InitStruct.Pull = GPIO_NOPULL;
  GPIO_InitStruct.Speed = GPIO_SPEED_FREQ_LOW;
  HAL_GPIO_Init(GPIOA, &GPIO_InitStruct);

  /*Configure GPIO pin : button_geri_Pin */
  GPIO_InitStruct.Pin = button_geri_Pin;
  GPIO_InitStruct.Mode = GPIO_MODE_INPUT;
  GPIO_InitStruct.Pull = GPIO_PULLDOWN;
  HAL_GPIO_Init(button_geri_GPIO_Port, &GPIO_InitStruct);

  /*Configure GPIO pins : button_Pin button_sol_Pin button_sag_Pin */
  GPIO_InitStruct.Pin = button_Pin|button_sol_Pin|button_sag_Pin;
  GPIO_InitStruct.Mode = GPIO_MODE_INPUT;
  GPIO_InitStruct.Pull = GPIO_PULLDOWN;
  HAL_GPIO_Init(GPIOA, &GPIO_InitStruct);

}

void Error_Handler(void)
{
  __disable_irq();
  while (1)
  {
  }
}

/************************ (C) COPYRIGHT STMicroelectronics *****END OF FILE****/
